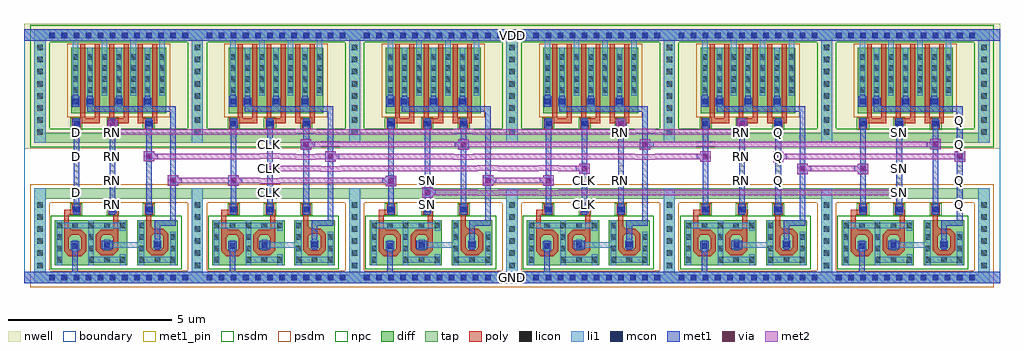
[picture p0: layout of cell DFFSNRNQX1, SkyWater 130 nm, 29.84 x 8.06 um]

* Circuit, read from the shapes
.subckt DFFSNRNQX1 CLK D GND Q RN SN VDD
XM1 n1 D GND GND sky130_fd_pr__nfet_01v8 w=2.6 l=0.147
XM2 n1 RN n2 GND sky130_fd_pr__nfet_01v8 w=2.52 l=0.148
XM3 n2 n3 n4 GND sky130_fd_pr__nfet_01v8 w=2.56 l=0.1465
XM4 n5 n4 GND GND sky130_fd_pr__nfet_01v8 w=2.6 l=0.148
XM5 n5 CLK n6 GND sky130_fd_pr__nfet_01v8 w=2.52 l=0.1477
XM6 n6 n7 n3 GND sky130_fd_pr__nfet_01v8 w=2.56 l=0.1466
XM7 n8 n4 GND GND sky130_fd_pr__nfet_01v8 w=2.6 l=0.1474
XM8 n8 SN n9 GND sky130_fd_pr__nfet_01v8 w=2.52 l=0.1481
XM9 n9 n7 n10 GND sky130_fd_pr__nfet_01v8 w=2.56 l=0.1466
XM10 n11 n10 GND GND sky130_fd_pr__nfet_01v8 w=2.6 l=0.1474
XM11 n11 CLK n12 GND sky130_fd_pr__nfet_01v8 w=2.52 l=0.148
XM12 n12 RN n7 GND sky130_fd_pr__nfet_01v8 w=2.56 l=0.1466
XM13 n13 n3 GND GND sky130_fd_pr__nfet_01v8 w=2.6 l=0.1474
XM14 n13 RN n14 GND sky130_fd_pr__nfet_01v8 w=2.52 l=0.1479
XM15 n14 Q n15 GND sky130_fd_pr__nfet_01v8 w=2.56 l=0.1464
XM16 n16 n15 GND GND sky130_fd_pr__nfet_01v8 w=2.6 l=0.1474
XM17 n16 SN n17 GND sky130_fd_pr__nfet_01v8 w=2.52 l=0.148
XM18 n17 n7 Q GND sky130_fd_pr__nfet_01v8 w=2.56 l=0.1466
XM19 n4 D VDD VDD sky130_fd_pr__pfet_01v8 w=2 l=0.15 m=2
XM20 n4 RN VDD VDD sky130_fd_pr__pfet_01v8 w=2 l=0.15 m=2
XM21 n4 n3 VDD VDD sky130_fd_pr__pfet_01v8 w=2 l=0.15 m=2
XM22 n3 n4 VDD VDD sky130_fd_pr__pfet_01v8 w=2 l=0.15 m=2
XM23 n3 CLK VDD VDD sky130_fd_pr__pfet_01v8 w=2 l=0.15 m=2
XM24 n3 n7 VDD VDD sky130_fd_pr__pfet_01v8 w=2 l=0.15 m=2
XM25 n10 n4 VDD VDD sky130_fd_pr__pfet_01v8 w=2 l=0.15 m=2
XM26 n10 SN VDD VDD sky130_fd_pr__pfet_01v8 w=2 l=0.15 m=2
XM27 n10 n7 VDD VDD sky130_fd_pr__pfet_01v8 w=2 l=0.15 m=2
XM28 n7 n10 VDD VDD sky130_fd_pr__pfet_01v8 w=2 l=0.15 m=2
XM29 n7 CLK VDD VDD sky130_fd_pr__pfet_01v8 w=2 l=0.15 m=2
XM30 n7 RN VDD VDD sky130_fd_pr__pfet_01v8 w=2 l=0.15 m=2
XM31 n15 n3 VDD VDD sky130_fd_pr__pfet_01v8 w=2 l=0.15 m=2
XM32 n15 RN VDD VDD sky130_fd_pr__pfet_01v8 w=2 l=0.15 m=2
XM33 n15 Q VDD VDD sky130_fd_pr__pfet_01v8 w=2 l=0.15 m=2
XM34 Q n15 VDD VDD sky130_fd_pr__pfet_01v8 w=2 l=0.15 m=2
XM35 Q SN VDD VDD sky130_fd_pr__pfet_01v8 w=2 l=0.15 m=2
XM36 Q n7 VDD VDD sky130_fd_pr__pfet_01v8 w=2 l=0.15 m=2
.ends

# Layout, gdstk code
from math import pi, radians
import gdstk
lib = gdstk.Library(unit=1e-6, precision=1e-09)
def R(c, l, rs):  # rectangles x0, y0, x1, y1
    for r in rs: c.add(gdstk.rectangle(r[:2], r[2:], *l))
def A(c, l, x, y, w, h, nx, ny, dx, dy):  # array of equal rectangles
    R(c, l, [(x+i*dx, y+j*dy, x+i*dx+w, y+j*dy+h) for i in range(nx) for j in range(ny)])
def P(c, l, *ps):  # polygons
    for p in ps: c.add(gdstk.Polygon(p, *l))
nwell = (64, 20)
diff = (65, 20)
tap = (65, 44)
poly = (66, 20)
licon = (66, 44)
li1 = (67, 20)
mcon = (67, 44)
met1_pin = (68, 16)
met1 = (68, 20)
via = (68, 44)
met2 = (69, 20)
nsdm = (93, 44)
psdm = (94, 20)
npc = (95, 20)
boundary = (235, 4)

li1_m1_contact = lib.new_cell('li1_M1_contact')
R(li1_m1_contact, li1, [(-0.085,-0.165,0.085,0.165)])
R(li1_m1_contact, mcon, [(-0.085,-0.085,0.085,0.085)])
R(li1_m1_contact, met1, [(-0.115,-0.115,0.115,-0.085), (-0.265,-0.085,0.145,0.085), (-0.115,0.085,0.115,0.115)])

diff_ring_side = lib.new_cell('diff_ring_side')
R(diff_ring_side, nwell, [(-0.435,3.93,0.435,7.75)])
R(diff_ring_side, tap, [(-0.17,-0.17,0.17,2.72), (-0.17,4.11,0.17,7.57)])
A(diff_ring_side, licon, -0.085, 0.285, 0.17, 0.17, 1, 6, 0, 0.37)
A(diff_ring_side, licon, -0.085, 4.355, 0.17, 0.17, 1, 8, 0, 0.37)
R(diff_ring_side, li1, [(-0.17,-0.17,0.17,2.72), (-0.17,4.11,0.17,7.57)])
R(diff_ring_side, met1, [(-0.17,-0.17,0.17,0.17), (-0.17,7.23,0.17,7.57)])
R(diff_ring_side, nsdm, [(-0.295,3.985,0.295,7.695)])
R(diff_ring_side, psdm, [(-0.295,-0.295,0.295,2.845)])

nmos_bottom = lib.new_cell('nmos_bottom')
R(nmos_bottom, diff, [(0,0,1.24,1.38)])
R(nmos_bottom, poly, [(0.43,0.27,0.81,0.42), (0.28,0.42,0.43,0.925), (0.81,0.42,0.96,0.925), (0.43,0.925,0.96,1.075), (0.81,1.075,0.96,1.51)])
P(nmos_bottom, poly, [(0.73,1.075),(0.81,1.075),(0.81,1.155)],
  [(0.28,0.925),(0.43,0.925),(0.43,1.075)],
  [(0.43,0.845),(0.43,0.925),(0.51,0.925)],
  [(0.73,0.925),(0.81,0.925),(0.81,0.845)],
  [(0.43,0.5),(0.43,0.42),(0.51,0.42)],
  [(0.73,0.42),(0.81,0.42),(0.81,0.5)],
  [(0.28,0.42),(0.43,0.42),(0.43,0.27)],
  [(0.81,0.27),(0.81,0.42),(0.96,0.42)])
A(nmos_bottom, licon, 0.05, 1.13, 0.17, 0.17, 3, 1, 0.485, 0)
R(nmos_bottom, licon, [(0.05,0.08,0.22,0.25), (1.02,0.08,1.19,0.25), (0.05,0.43,0.22,0.6), (1.02,0.43,1.19,0.6), (0.535,0.505,0.705,0.675), (0.05,0.77,0.22,0.94), (1.02,0.77,1.19,0.94)])
R(nmos_bottom, li1, [(0.05,0,0.22,1.13), (1.02,0,1.19,1.13), (0.535,0.425,0.705,0.755), (0.05,1.13,1.19,1.3), (0.05,1.3,0.22,1.38), (1.02,1.3,1.19,1.38)])
R(nmos_bottom, nsdm, [(-0.125,-0.125,1.365,1.505)])

pmos2 = lib.new_cell('pmos2')
R(pmos2, nwell, [(0.26,-2.18,1.76,0.18)])
R(pmos2, diff, [(0.44,-2,1.58,0)])
R(pmos2, poly, [(0.72,-2.305,1.31,-2.155), (0.72,-2.155,0.87,0.13), (1.16,-2.155,1.31,0.13)])
A(pmos2, licon, 0.49, -1.38, 0.17, 0.17, 3, 4, 0.44, 0.34)
R(pmos2, li1, [(0.49,-1.465,0.66,0.21), (0.93,-1.465,1.1,0), (1.37,-1.465,1.54,0.21)])
R(pmos2, psdm, [(0.315,-2.125,1.705,0.125)])

poly_li1_contact = lib.new_cell('poly_li1_contact')
R(poly_li1_contact, poly, [(-0.16,-0.14,0.17,0.13)])
R(poly_li1_contact, licon, [(-0.08,-0.09,0.09,0.08)])
R(poly_li1_contact, li1, [(-0.16,-0.09,0.17,0.08)])
R(poly_li1_contact, npc, [(-0.18,-0.19,0.19,0.18)])

nmos_side_left = lib.new_cell('nmos_side_left')
R(nmos_side_left, diff, [(0,0,1.24,1.38)])
R(nmos_side_left, poly, [(0.435,0.305,0.81,0.455), (0.285,0.455,0.435,0.925), (0.81,0.455,0.96,0.925), (0.435,0.925,0.96,1.075), (0.81,1.075,0.96,1.51)])
P(nmos_side_left, poly, [(0.285,0.925),(0.435,0.925),(0.435,1.075)],
  [(0.435,0.845),(0.435,0.925),(0.515,0.925)],
  [(0.73,0.925),(0.81,0.925),(0.81,0.845)],
  [(0.435,0.535),(0.435,0.455),(0.515,0.455)],
  [(0.73,0.455),(0.81,0.455),(0.81,0.535)],
  [(0.285,0.455),(0.435,0.455),(0.435,0.305)],
  [(0.81,0.305),(0.81,0.455),(0.96,0.455)])
A(nmos_side_left, licon, 0.05, 0.08, 0.17, 0.17, 3, 2, 0.485, 1.05)
R(nmos_side_left, licon, [(0.05,0.43,0.22,0.6), (0.54,0.535,0.71,0.705), (0.05,0.77,0.22,0.94)])
R(nmos_side_left, li1, [(0.05,0,0.22,0.08), (1.02,0,1.19,0.08), (0.05,0.08,1.19,0.25), (0.05,0.25,0.22,1.13), (1.02,0.25,1.19,0.33), (0.54,0.455,0.71,0.785), (1.02,1.05,1.19,1.13), (0.05,1.13,1.19,1.3), (0.05,1.3,0.22,1.38), (1.02,1.3,1.19,1.38)])
R(nmos_side_left, nsdm, [(-0.125,-0.125,1.365,1.505)])

nmos_top_trim1 = lib.new_cell('nmos_top_trim1')
R(nmos_top_trim1, diff, [(0,0,1.24,1.38)])
R(nmos_top_trim1, poly, [(0.43,0.31,0.81,0.46), (0.28,0.46,0.43,0.965), (0.81,0.46,0.96,0.965), (0.43,0.965,0.96,1.115), (0.81,1.115,0.96,1.545)])
P(nmos_top_trim1, poly, [(0.73,1.115),(0.81,1.115),(0.81,1.195)],
  [(0.28,0.965),(0.43,0.965),(0.43,1.115)],
  [(0.43,0.885),(0.43,0.965),(0.51,0.965)],
  [(0.73,0.965),(0.81,0.965),(0.81,0.885)],
  [(0.43,0.54),(0.43,0.46),(0.51,0.46)],
  [(0.73,0.46),(0.81,0.46),(0.81,0.54)],
  [(0.28,0.46),(0.43,0.46),(0.43,0.31)],
  [(0.81,0.31),(0.81,0.46),(0.96,0.46)])
A(nmos_top_trim1, licon, 0.05, 0.08, 0.17, 0.17, 3, 1, 0.485, 0)
R(nmos_top_trim1, licon, [(0.05,0.43,0.22,0.6), (1.02,0.43,1.19,0.6), (0.535,0.55,0.705,0.72), (0.05,0.77,0.22,0.94), (1.02,0.77,1.19,0.94), (1.02,1.13,1.19,1.3)])
R(nmos_top_trim1, li1, [(0.05,0,0.22,0.08), (1.02,0,1.19,0.08), (0.05,0.08,1.19,0.25), (0.05,0.25,0.22,1.02), (1.02,0.25,1.19,1.38), (0.535,0.47,0.705,0.805)])
R(nmos_top_trim1, nsdm, [(-0.125,-0.125,1.365,1.505)])

nand3x1_pcell = lib.new_cell('nand3x1_pcell')
R(nand3x1_pcell, nwell, [(0.435,3.93,4.375,5.28), (0.435,5.28,1.1,5.295), (1.395,5.28,4.375,5.495), (0.435,5.295,1.025,5.465), (1.145,5.295,1.315,5.465), (0.435,5.465,1.1,5.495), (0.435,5.495,4.375,7.75)])
A(nand3x1_pcell, diff, 1.445, 5.295, 0.17, 0.17, 3, 1, 0.88, 0)
R(nand3x1_pcell, diff, [(1.005,5.295,1.175,5.465)])
R(nand3x1_pcell, tap, [(0.17,-0.17,4.64,0.085), (0.17,2.41,4.64,2.72), (0.17,4.11,4.64,4.42), (0.17,7.315,4.64,7.57)])
R(nand3x1_pcell, poly, [(0.735,1.885,0.885,1.915), (2.235,1.885,2.385,1.915), (0.735,1.915,0.975,2.065), (2.355,1.915,2.385,2.065)])
A(nand3x1_pcell, licon, 0.285, -0.085, 0.17, 0.17, 12, 2, 0.37, 7.4)
A(nand3x1_pcell, licon, 1.445, 5.295, 0.17, 0.17, 3, 1, 0.88, 0)
R(nand3x1_pcell, licon, [(1.005,5.295,1.175,5.465)])
A(nand3x1_pcell, li1, 1.025, 1.995, 0.17, 0.17, 3, 2, 1.11, 2.62)
R(nand3x1_pcell, li1, [(0.17,-0.17,4.65,0.17), (0.99,0.88,1.16,1.05), (1.965,0.91,3.015,1.08), (3.5,0.925,3.67,1.095), (1.005,5.215,1.175,5.6), (1.445,5.215,1.615,5.56), (2.325,5.215,2.495,5.585), (3.205,5.215,3.375,5.56), (0.07,7.23,4.715,7.57)])
A(nand3x1_pcell, mcon, 0.285, -0.085, 0.17, 0.17, 12, 2, 0.37, 7.4)
A(nand3x1_pcell, mcon, 1.025, 1.995, 0.17, 0.17, 3, 2, 1.11, 2.62)
A(nand3x1_pcell, mcon, 1.445, 5.295, 0.17, 0.17, 3, 1, 0.88, 0)
R(nand3x1_pcell, mcon, [(0.99,0.88,1.16,1.05), (1.965,0.91,2.135,1.08), (3.5,0.925,3.67,1.095), (1.005,5.295,1.175,5.465)])
A(nand3x1_pcell, met1, 1.025, 1.915, 0.17, 0.04, 3, 1, 1.11, 0)
A(nand3x1_pcell, met1, 1.445, 5.495, 0.17, 0.06, 3, 1, 0.88, 0)
R(nand3x1_pcell, met1, [(0.17,-0.17,4.64,0.17), (0.99,0.17,1.16,0.835), (0.945,0.835,1.205,1.11), (1.89,0.865,2.225,1.115), (3.5,0.865,3.67,0.895), (3.47,0.895,3.7,1.125), (3.5,1.125,3.67,1.58), (3.5,1.58,4.155,1.75), (3.985,1.75,4.155,5.07), (0.995,1.955,1.225,2.195), (2.105,1.955,2.34,2.195), (3.215,1.955,3.445,2.195), (1.025,2.195,1.195,4.575), (2.135,2.195,2.305,4.585), (3.245,2.195,3.415,4.57), (3.215,4.57,3.445,4.815), (0.99,4.575,1.23,4.835), (2.105,4.585,2.335,4.815), (2.135,4.815,2.305,4.845), (3.245,4.815,3.415,4.845), (1.025,4.835,1.195,4.845), (1.445,5.07,4.155,5.24), (0.965,5.215,1.205,5.535), (1.415,5.24,1.65,5.495), (2.29,5.24,2.53,5.495), (3.175,5.24,3.405,5.495), (1.005,5.535,1.175,5.58), (0.17,7.23,4.64,7.57)])
R(nand3x1_pcell, nsdm, [(2.79,0.25,2.84,1.88), (0.045,3.985,4.765,4.545), (0.045,7.19,4.765,7.695)])
R(nand3x1_pcell, psdm, [(0.045,-0.295,4.765,0.21), (0.045,2.285,4.765,2.845), (0.88,5.17,1.74,5.59), (2.2,5.17,2.62,5.59), (3.08,5.17,3.5,5.59)])
nand3x1_pcell.add(gdstk.Reference(diff_ring_side, (0,0)))
nand3x1_pcell.add(gdstk.Reference(nmos_bottom, (1.695,0.375), rotation=pi, x_reflection=True))
nand3x1_pcell.add(gdstk.Reference(pmos2, (0.515,7.02)))
nand3x1_pcell.add(gdstk.Reference(poly_li1_contact, (1.115,4.705), rotation=3*pi/2))
nand3x1_pcell.add(gdstk.Reference(poly_li1_contact, (1.105,2.075), rotation=pi/2))
nand3x1_pcell.add(gdstk.Reference(nmos_side_left, (1.425,0.375)))
nand3x1_pcell.add(gdstk.Reference(pmos2, (1.395,7.02)))
nand3x1_pcell.add(gdstk.Reference(pmos2, (2.275,7.02)))
nand3x1_pcell.add(gdstk.Reference(poly_li1_contact, (2.215,2.075), rotation=pi/2))
nand3x1_pcell.add(gdstk.Reference(poly_li1_contact, (2.215,4.695), rotation=pi/2))
nand3x1_pcell.add(gdstk.Reference(nmos_top_trim1, (4.205,0.375), rotation=pi, x_reflection=True))
nand3x1_pcell.add(gdstk.Reference(poly_li1_contact, (3.325,2.075), rotation=pi/2))
nand3x1_pcell.add(gdstk.Reference(poly_li1_contact, (3.335,4.705), rotation=3*pi/2))
nand3x1_pcell.add(gdstk.Reference(diff_ring_side, (4.81,0)))

dffsnrnqx1 = lib.new_cell('DFFSNRNQX1')
R(dffsnrnqx1, nwell, [(0,4.11,29.84,4.4), (0,4.4,18.41,4.45), (18.435,4.4,29.84,4.42), (18.435,4.42,22.035,4.46), (22.09,4.42,29.84,4.49), (0,4.45,2.84,4.465), (2.86,4.45,18.41,4.46), (2.86,4.46,22.035,4.465), (0,4.465,22.035,4.49), (0,4.49,29.84,7.94)])
R(dffsnrnqx1, tap, [(0.32,0,29.52,0.065), (0.32,7.75,29.52,7.76)])
R(dffsnrnqx1, li1, [(0,0,29.84,0.35), (28.525,3.715,28.695,4.045), (0,7.41,29.84,7.76)])
R(dffsnrnqx1, mcon, [(28.525,3.795,28.695,3.965)])
A(dffsnrnqx1, met1_pin, 28.525, 2.315, 0.17, 0.17, 1, 8, 0, 0.37)
A(dffsnrnqx1, met1_pin, 1.515, 2.685, 0.17, 0.17, 1, 6, 0, 0.37)
A(dffsnrnqx1, met1_pin, 2.625, 2.685, 0.17, 0.17, 3, 1, 4.81, 0)
A(dffsnrnqx1, met1_pin, 26.675, 2.685, 0.17, 0.17, 1, 3, 0, 0.37)
A(dffsnrnqx1, met1_pin, 2.625, 3.055, 0.17, 0.17, 1, 5, 0, 0.37)
A(dffsnrnqx1, met1_pin, 21.865, 3.055, 0.17, 0.17, 1, 3, 0, 0.37)
A(dffsnrnqx1, met1_pin, 22.975, 3.055, 0.17, 0.17, 1, 3, 0, 0.37)
R(dffsnrnqx1, met1_pin, [(0,0,29.84,0.35), (2.625,2.315,2.795,2.485), (12.245,2.315,12.415,2.485), (17.055,2.315,17.225,2.485), (12.245,3.055,12.415,3.225), (17.055,3.055,17.225,3.225), (18.165,3.055,18.335,3.225), (7.435,3.425,7.605,3.595), (17.055,3.425,17.225,3.595), (18.165,3.425,18.335,3.595), (7.435,4.165,7.605,4.335), (18.165,4.535,18.335,4.705), (21.865,4.535,22.035,4.705), (22.975,4.535,23.145,4.705), (26.675,4.535,26.845,4.705), (0,7.41,29.84,7.76)])
A(dffsnrnqx1, met1, 2.625, 2.315, 0.17, 0.17, 1, 6, 0, 0.37)
A(dffsnrnqx1, met1, 28.525, 2.315, 0.17, 0.17, 1, 4, 0, 0.37)
A(dffsnrnqx1, met1, 1.515, 2.685, 0.17, 0.17, 1, 6, 0, 0.37)
A(dffsnrnqx1, met1, 21.865, 3.055, 0.17, 0.17, 1, 3, 0, 0.37)
A(dffsnrnqx1, met1, 28.525, 4.165, 0.17, 0.17, 1, 3, 0, 0.37)
R(dffsnrnqx1, met1, [(0,0,29.84,0.35), (12.245,2.315,12.415,2.485), (17.055,2.315,17.225,2.485), (12.17,2.615,12.49,2.935), (26.6,2.615,26.92,2.935), (7.435,2.685,7.605,2.855), (11.06,2.965,11.38,3.285), (14.02,2.98,14.34,3.3), (15.87,2.98,16.19,3.3), (6.25,2.985,6.57,3.305), (4.4,2.99,4.72,3.31), (12.245,3.055,12.415,3.225), (17.055,3.055,17.225,3.225), (18.165,3.055,18.335,3.225), (22.975,3.055,23.145,3.225), (26.675,3.055,26.845,3.225), (16.98,3.335,17.3,3.655), (23.635,3.335,23.955,3.655), (25.485,3.335,25.805,3.655), (7.36,3.35,7.68,3.67), (18.165,3.425,18.335,3.595), (22.975,3.425,23.145,3.595), (26.675,3.425,26.845,3.595), (28.525,3.7,28.695,3.72), (22.9,3.705,23.22,4.025), (9.21,3.72,9.53,4.04), (20.68,3.72,21,4.04), (28.45,3.72,28.77,4.04), (3.665,3.725,3.985,4.045), (8.465,4.09,8.785,4.41), (13.28,4.09,13.6,4.41), (18.83,4.09,19.15,4.41), (27.71,4.105,28.03,4.425), (7.435,4.165,7.605,4.335), (2.625,4.535,2.795,4.675), (18.165,4.535,18.335,4.705), (21.865,4.535,22.035,4.705), (22.975,4.535,23.145,4.705), (26.675,4.535,26.845,4.705), (2.55,4.675,2.87,4.995), (18.09,4.705,18.41,5.025), (21.79,4.705,22.11,5.025), (0,7.41,29.84,7.76)])
R(dffsnrnqx1, via, [(12.255,2.7,12.405,2.85), (26.685,2.7,26.835,2.85), (11.145,3.05,11.295,3.2), (14.105,3.065,14.255,3.215), (15.955,3.065,16.105,3.215), (6.335,3.07,6.485,3.22), (4.485,3.075,4.635,3.225), (17.065,3.42,17.215,3.57), (23.72,3.42,23.87,3.57), (25.57,3.42,25.72,3.57), (7.445,3.435,7.595,3.585), (22.985,3.79,23.135,3.94), (9.295,3.805,9.445,3.955), (20.765,3.805,20.915,3.955), (28.535,3.805,28.685,3.955), (3.75,3.81,3.9,3.96), (8.55,4.175,8.7,4.325), (13.365,4.175,13.515,4.325), (18.915,4.175,19.065,4.325), (27.795,4.19,27.945,4.34), (2.635,4.76,2.785,4.91), (18.175,4.79,18.325,4.94), (21.875,4.79,22.025,4.94)])
R(dffsnrnqx1, met2, [(12.17,2.615,12.49,2.685), (26.6,2.615,26.92,2.685), (13.88,2.67,14.48,2.685), (15.73,2.67,16.33,2.685), (12.17,2.685,26.92,2.84), (12.17,2.84,13.88,2.855), (14.48,2.84,15.73,2.855), (16.33,2.84,26.92,2.855), (12.17,2.855,12.49,2.935), (26.6,2.855,26.92,2.935), (11.06,2.965,11.38,3.06), (14.02,2.98,14.34,3.055), (15.87,2.98,16.19,3.055), (6.25,2.985,6.57,3.06), (4.4,2.99,4.72,3.06), (7.22,3.04,7.82,3.06), (14.02,3.055,16.19,3.225), (4.4,3.06,11.38,3.21), (4.4,3.21,7.22,3.23), (7.82,3.21,11.38,3.23), (14.02,3.225,14.34,3.3), (15.87,3.225,16.19,3.3), (4.4,3.23,4.72,3.31), (6.25,3.23,6.57,3.305), (11.06,3.23,11.38,3.285), (16.98,3.335,17.3,3.425), (23.635,3.335,23.955,3.425), (25.485,3.335,25.805,3.425), (7.36,3.35,7.68,3.425), (9.07,3.41,9.67,3.425), (7.36,3.425,13.88,3.44), (14.48,3.425,15.73,3.44), (16.33,3.425,17.3,3.44), (23.635,3.425,25.805,3.595), (7.36,3.44,17.3,3.58), (7.36,3.58,9.07,3.595), (9.67,3.58,17.3,3.595), (7.36,3.595,7.68,3.67), (13.88,3.595,14.48,3.61), (15.73,3.595,16.33,3.61), (16.98,3.595,17.3,3.655), (23.635,3.595,23.955,3.655), (25.485,3.595,25.805,3.655), (22.9,3.705,23.22,3.795), (9.21,3.72,9.53,3.795), (20.68,3.72,21,3.795), (28.45,3.72,28.77,3.795), (3.665,3.725,3.985,3.795), (8.325,3.78,8.925,3.795), (13.14,3.78,13.74,3.795), (18.69,3.78,19.29,3.795), (3.665,3.795,7.22,3.81), (7.82,3.795,21,3.81), (22.9,3.795,28.77,3.965), (3.665,3.81,21,3.95), (3.665,3.95,8.325,3.965), (8.925,3.95,13.14,3.965), (13.74,3.95,18.69,3.965), (19.29,3.95,21,3.965), (3.665,3.965,3.985,4.045), (7.22,3.965,7.82,3.98), (9.21,3.965,9.53,4.04), (20.68,3.965,21,4.04), (22.9,3.965,23.22,4.025), (28.45,3.965,28.77,4.04), (8.465,4.09,8.785,4.165), (13.28,4.09,13.6,4.165), (18.83,4.09,19.15,4.165), (27.71,4.105,28.03,4.165), (8.465,4.165,9.07,4.18), (9.67,4.165,20.54,4.18), (21.14,4.165,28.03,4.18), (8.465,4.18,28.03,4.335), (8.465,4.335,8.785,4.41), (9.07,4.335,9.67,4.35), (13.28,4.335,13.6,4.41), (18.83,4.335,19.15,4.41), (20.54,4.335,21.14,4.35), (27.71,4.335,28.03,4.425), (2.62,4.535,8.325,4.55), (8.925,4.535,13.14,4.55), (13.74,4.535,18.69,4.55), (19.29,4.535,22.035,4.55), (2.62,4.55,22.035,4.675), (2.55,4.675,22.035,4.705), (2.55,4.705,2.87,4.995), (8.325,4.705,8.925,4.72), (13.14,4.705,13.74,4.72), (18.09,4.705,18.41,5.025), (18.69,4.705,19.29,4.72), (21.79,4.705,22.11,5.025)])
R(dffsnrnqx1, nsdm, [(0.195,7.625,29.645,7.885)])
R(dffsnrnqx1, psdm, [(0.195,-0.125,29.645,0.19)])
R(dffsnrnqx1, boundary, [(0,0,29.84,7.76)])
dffsnrnqx1.add(gdstk.Reference(li1_m1_contact, (3.82,3.88), rotation=pi))
dffsnrnqx1.add(gdstk.Reference(li1_m1_contact, (4.56,3.145), rotation=pi))
dffsnrnqx1.add(gdstk.Reference(nand3x1_pcell, (0.49,0.18)))
dffsnrnqx1.add(gdstk.Reference(nand3x1_pcell, (5.3,0.18)))
dffsnrnqx1.add(gdstk.Reference(li1_m1_contact, (8.625,4.25), rotation=pi))
dffsnrnqx1.add(gdstk.Reference(li1_m1_contact, (6.41,3.145), rotation=pi))
dffsnrnqx1.add(gdstk.Reference(li1_m1_contact, (7.52,3.51), rotation=pi))
dffsnrnqx1.add(gdstk.Reference(li1_m1_contact, (9.37,3.88), rotation=pi))
dffsnrnqx1.add(gdstk.Reference(li1_m1_contact, (11.22,3.145)))
dffsnrnqx1.add(gdstk.Reference(nand3x1_pcell, (10.11,0.18)))
dffsnrnqx1.add(gdstk.Reference(li1_m1_contact, (13.44,4.25)))
dffsnrnqx1.add(gdstk.Reference(li1_m1_contact, (12.33,2.77), rotation=pi))
dffsnrnqx1.add(gdstk.Reference(li1_m1_contact, (14.18,3.14), rotation=pi))
dffsnrnqx1.add(gdstk.Reference(li1_m1_contact, (17.14,3.51)))
dffsnrnqx1.add(gdstk.Reference(li1_m1_contact, (16.03,3.14)))
dffsnrnqx1.add(gdstk.Reference(nand3x1_pcell, (14.92,0.18)))
dffsnrnqx1.add(gdstk.Reference(li1_m1_contact, (18.99,4.25), rotation=pi))
dffsnrnqx1.add(gdstk.Reference(li1_m1_contact, (20.84,3.88)))
dffsnrnqx1.add(gdstk.Reference(nand3x1_pcell, (19.73,0.18)))
dffsnrnqx1.add(gdstk.Reference(li1_m1_contact, (23.06,3.88), rotation=pi))
dffsnrnqx1.add(gdstk.Reference(li1_m1_contact, (23.8,3.51), rotation=pi))
dffsnrnqx1.add(gdstk.Reference(li1_m1_contact, (27.87,4.25)))
dffsnrnqx1.add(gdstk.Reference(li1_m1_contact, (25.65,3.51)))
dffsnrnqx1.add(gdstk.Reference(li1_m1_contact, (26.76,2.77)))
dffsnrnqx1.add(gdstk.Reference(nand3x1_pcell, (24.54,0.18)))
dffsnrnqx1.add(gdstk.Label('Q', (23.06,3.14), layer=68, texttype=5))
dffsnrnqx1.add(gdstk.Label('Q', (23.06,3.51), layer=68, texttype=5))
dffsnrnqx1.add(gdstk.Label('Q', (23.06,3.88), layer=68, texttype=5))
dffsnrnqx1.add(gdstk.Label('Q', (23.06,4.62), layer=68, texttype=5))
dffsnrnqx1.add(gdstk.Label('Q', (28.61,2.4), layer=68, texttype=5))
dffsnrnqx1.add(gdstk.Label('Q', (28.61,2.77), layer=68, texttype=5))
dffsnrnqx1.add(gdstk.Label('Q', (28.61,3.14), layer=68, texttype=5))
dffsnrnqx1.add(gdstk.Label('Q', (28.61,3.51), layer=68, texttype=5))
dffsnrnqx1.add(gdstk.Label('Q', (28.61,4.99), layer=68, texttype=5))
dffsnrnqx1.add(gdstk.Label('Q', (28.61,4.62), layer=68, texttype=5))
dffsnrnqx1.add(gdstk.Label('Q', (28.61,4.25), layer=68, texttype=5))
dffsnrnqx1.add(gdstk.Label('Q', (28.61,3.88), layer=68, texttype=5))
dffsnrnqx1.add(gdstk.Label('D', (1.6,4.62), layer=68, texttype=5))
dffsnrnqx1.add(gdstk.Label('D', (1.6,4.25), layer=68, texttype=5))
dffsnrnqx1.add(gdstk.Label('D', (1.6,3.88), layer=68, texttype=5))
dffsnrnqx1.add(gdstk.Label('D', (1.6,3.51), layer=68, texttype=5))
dffsnrnqx1.add(gdstk.Label('D', (1.6,2.77), layer=68, texttype=5))
dffsnrnqx1.add(gdstk.Label('D', (1.6,3.14), layer=68, texttype=5))
dffsnrnqx1.add(gdstk.Label('CLK', (17.14,2.4), layer=68, texttype=5))
dffsnrnqx1.add(gdstk.Label('CLK', (17.14,3.14), layer=68, texttype=5))
dffsnrnqx1.add(gdstk.Label('CLK', (17.14,3.51), layer=68, texttype=5))
dffsnrnqx1.add(gdstk.Label('CLK', (7.52,4.25), layer=68, texttype=5))
dffsnrnqx1.add(gdstk.Label('CLK', (7.52,2.77), layer=68, texttype=5))
dffsnrnqx1.add(gdstk.Label('CLK', (7.52,3.51), layer=68, texttype=5))
dffsnrnqx1.add(gdstk.Label('SN', (12.33,2.4), layer=68, texttype=5))
dffsnrnqx1.add(gdstk.Label('SN', (26.76,4.62), layer=68, texttype=5))
dffsnrnqx1.add(gdstk.Label('SN', (26.76,3.51), layer=68, texttype=5))
dffsnrnqx1.add(gdstk.Label('SN', (26.76,3.14), layer=68, texttype=5))
dffsnrnqx1.add(gdstk.Label('SN', (26.76,2.77), layer=68, texttype=5))
dffsnrnqx1.add(gdstk.Label('SN', (12.33,3.14), layer=68, texttype=5))
dffsnrnqx1.add(gdstk.Label('SN', (12.33,2.77), layer=68, texttype=5))
dffsnrnqx1.add(gdstk.Label('RN', (21.95,4.62), layer=68, texttype=5))
dffsnrnqx1.add(gdstk.Label('RN', (21.95,3.88), layer=68, texttype=5))
dffsnrnqx1.add(gdstk.Label('RN', (21.95,3.51), layer=68, texttype=5))
dffsnrnqx1.add(gdstk.Label('RN', (21.95,3.14), layer=68, texttype=5))
dffsnrnqx1.add(gdstk.Label('RN', (18.25,4.62), layer=68, texttype=5))
dffsnrnqx1.add(gdstk.Label('RN', (18.25,3.14), layer=68, texttype=5))
dffsnrnqx1.add(gdstk.Label('RN', (18.25,3.51), layer=68, texttype=5))
dffsnrnqx1.add(gdstk.Label('RN', (2.71,2.4), layer=68, texttype=5))
dffsnrnqx1.add(gdstk.Label('RN', (2.71,2.77), layer=68, texttype=5))
dffsnrnqx1.add(gdstk.Label('RN', (2.71,3.14), layer=68, texttype=5))
dffsnrnqx1.add(gdstk.Label('RN', (2.71,3.51), layer=68, texttype=5))
dffsnrnqx1.add(gdstk.Label('RN', (2.71,3.88), layer=68, texttype=5))
dffsnrnqx1.add(gdstk.Label('RN', (2.71,4.25), layer=68, texttype=5))
dffsnrnqx1.add(gdstk.Label('RN', (2.71,4.62), layer=68, texttype=5))
dffsnrnqx1.add(gdstk.Label('VDD', (14.92,7.585), layer=68, texttype=5))
dffsnrnqx1.add(gdstk.Label('GND', (14.92,0.175), layer=68, texttype=5))

lib.write_gds('DFFSNRNQX1.gds')
